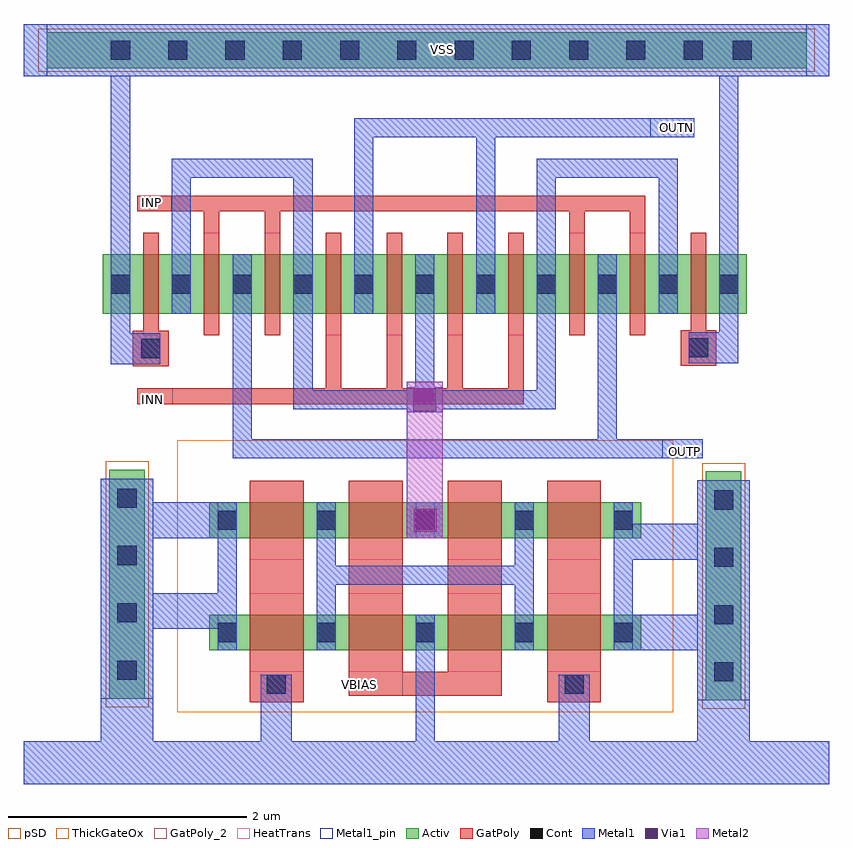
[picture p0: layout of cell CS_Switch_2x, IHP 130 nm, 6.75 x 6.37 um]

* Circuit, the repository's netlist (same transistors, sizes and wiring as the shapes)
** sch_path: /home/designer/shared/CS_DAC/CS_DAC-/xschem/CS_Switch_2x.sch
.subckt CS_Switch_2x INN INP OUTN OUTP VBIAS VSS
*.PININFO VSS:B VBIAS:I OUTP:B OUTN:B INP:I INN:I
MM7 net1 VBIAS net2 VSS sg13_hv_nmos w=0.6u l=0.45u ng=1 m=1
MM5 net2 VBIAS VSS VSS sg13_hv_nmos w=0.6u l=0.45u ng=1 m=1
MM1 OUTP INP net1 VSS sg13_lv_nmos w=2u l=0.13u ng=1 m=1
MM2 OUTN INN net1 VSS sg13_lv_nmos w=2u l=0.13u ng=1 m=1
MM3 VSS VSS net1 VSS sg13_lv_nmos w=0.5u l=0.13u ng=1 m=1
MM6 VSS VSS net2 VSS sg13_hv_nmos w=0.3u l=0.45u ng=1 m=1
MM8 VSS VSS net2 VSS sg13_hv_nmos w=0.3u l=0.45u ng=1 m=1
MM9 net2 VSS VSS VSS sg13_hv_nmos w=0.3u l=0.45u ng=1 m=1
MM10 net2 VSS VSS VSS sg13_hv_nmos w=0.3u l=0.45u ng=1 m=1
MM4 VSS VSS net1 VSS sg13_lv_nmos w=0.5u l=0.13u ng=1 m=1
.ends

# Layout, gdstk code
import gdstk
lib = gdstk.Library(unit=1e-6, precision=1e-09)
def R(c, l, rs):  # rectangles x0, y0, x1, y1
    for r in rs: c.add(gdstk.rectangle(r[:2], r[2:], *l))
def A(c, l, x, y, w, h, nx, ny, dx, dy):  # array of equal rectangles
    R(c, l, [(x+i*dx, y+j*dy, x+i*dx+w, y+j*dy+h) for i in range(nx) for j in range(ny)])
def P(c, l, *ps):  # polygons
    for p in ps: c.add(gdstk.Polygon(p, *l))
Activ = (1, 0)
GatPoly = (5, 0)
GatPoly_2 = (5, 2)
Cont = (6, 0)
Metal1 = (8, 0)
Metal1_pin = (8, 2)
Metal2 = (10, 0)
pSD = (14, 0)
Via1 = (19, 0)
ThickGateOx = (44, 0)
HeatTrans = (51, 0)

nmoshv_1 = lib.new_cell('nmosHV$1')
A(nmoshv_1, Activ, 0, 0, 0.3, 0.3, 3, 1, 0.83, 0)
R(nmoshv_1, Activ, [(0,0,1.96,0.3)])
R(nmoshv_1, GatPoly, [(0.34,-0.18,0.79,0.48), (1.17,-0.18,1.62,0.48)])
R(nmoshv_1, GatPoly_2, [(0.34,-0.18,0.79,0.48)])
A(nmoshv_1, Cont, 0.07, 0.07, 0.16, 0.16, 3, 1, 0.83, 0)
A(nmoshv_1, Metal1, 0.07, 0, 0.16, 0.3, 3, 1, 0.83, 0)
R(nmoshv_1, Metal1_pin, [(0.07,0,0.23,0.3), (0.9,0,1.06,0.3)])
R(nmoshv_1, ThickGateOx, [(-0.27,-0.52,2.23,0.82)])
R(nmoshv_1, HeatTrans, [(0.34,-0.18,0.79,0.48), (1.17,-0.18,1.62,0.48)])
nmoshv_1.add(gdstk.Label('nmosHV', (0.565,0.15), layer=63, texttype=0))
nmoshv_1.add(gdstk.Label('nmosHV', (0.565,0.15), layer=51, texttype=0))
nmoshv_1.add(gdstk.Label('nmosHV', (1.395,0.15), layer=51, texttype=0))

via_stack = lib.new_cell('via_stack')
R(via_stack, Metal1, [(-0.145,-0.105,0.145,0.105)])
R(via_stack, Metal2, [(-0.145,-0.1,0.145,0.1)])
R(via_stack, Via1, [(-0.095,-0.095,0.095,0.095)])

nmos = lib.new_cell('nmos')
A(nmos, Activ, 0, 0, 0.3, 0.3, 3, 1, 0.51, 0)
R(nmos, Activ, [(0,0,1.32,0.5)])
R(nmos, GatPoly, [(0.34,-0.18,0.47,0.68), (0.85,-0.18,0.98,0.68)])
R(nmos, GatPoly_2, [(0.34,-0.18,0.47,0.68)])
A(nmos, Cont, 0.07, 0.17, 0.16, 0.16, 3, 1, 0.51, 0)
A(nmos, Metal1, 0.07, 0, 0.16, 0.5, 3, 1, 0.51, 0)
R(nmos, Metal1_pin, [(0.07,0,0.23,0.5), (0.58,0,0.74,0.5)])
R(nmos, HeatTrans, [(0.34,-0.18,0.47,0.68), (0.85,-0.18,0.98,0.68)])
nmos.add(gdstk.Label('nmos', (0.405,0.25), layer=63, texttype=0))
nmos.add(gdstk.Label('nmos', (0.405,0.25), layer=51, texttype=0))
nmos.add(gdstk.Label('nmos', (0.915,0.25), layer=51, texttype=0))

nmoshv = lib.new_cell('nmosHV')
R(nmoshv, Activ, [(0,0,0.3,0.3), (0,0,1.13,0.3), (0.83,0,1.13,0.3)])
R(nmoshv, GatPoly, [(0.34,-0.18,0.79,0.48)])
R(nmoshv, GatPoly_2, [(0.34,-0.18,0.79,0.48)])
R(nmoshv, Cont, [(0.07,0.07,0.23,0.23), (0.9,0.07,1.06,0.23)])
R(nmoshv, Metal1, [(0.07,0,0.23,0.3), (0.9,0,1.06,0.3)])
R(nmoshv, Metal1_pin, [(0.07,0,0.23,0.3), (0.9,0,1.06,0.3)])
R(nmoshv, ThickGateOx, [(-0.27,-0.52,1.4,0.82)])
R(nmoshv, HeatTrans, [(0.34,-0.18,0.79,0.48)])
nmoshv.add(gdstk.Label('nmosHV', (0.565,0.15), layer=63, texttype=0))
nmoshv.add(gdstk.Label('nmosHV', (0.565,0.15), layer=51, texttype=0))

nmos_1 = lib.new_cell('nmos$1')
R(nmos_1, Activ, [(0,0,0.3,0.3), (0,0,0.81,0.5), (0.51,0,0.81,0.3)])
R(nmos_1, GatPoly, [(0.34,-0.18,0.47,0.68)])
R(nmos_1, GatPoly_2, [(0.34,-0.18,0.47,0.68)])
R(nmos_1, Cont, [(0.07,0.17,0.23,0.33), (0.58,0.17,0.74,0.33)])
R(nmos_1, Metal1, [(0.07,0,0.23,0.5), (0.58,0,0.74,0.5)])
R(nmos_1, Metal1_pin, [(0.07,0,0.23,0.5), (0.58,0,0.74,0.5)])
R(nmos_1, HeatTrans, [(0.34,-0.18,0.47,0.68)])
nmos_1.add(gdstk.Label('nmos', (0.405,0.25), layer=63, texttype=0))
nmos_1.add(gdstk.Label('nmos', (0.405,0.25), layer=51, texttype=0))

cs_switch_2x = lib.new_cell('CS_Switch_2x')
R(cs_switch_2x, Activ, [(2.34,-2.485,2.64,-0.565), (-2.66,-2.47,-2.36,-0.55), (-3.185,2.815,3.185,3.115)])
A(cs_switch_2x, GatPoly, -0.845, 0.13, 0.13, 0.445, 4, 1, 0.51, 0)
R(cs_switch_2x, GatPoly, [(-1.48,-2.5,-1.03,-0.645), (1.01,-2.5,1.46,-0.645), (-0.65,-2.445,0.63,-2.245), (-0.65,-1.585,-0.2,-1.305), (0.18,-1.585,0.63,-1.305), (-2.425,0,0.815,0.13), (-2.46,0.315,-2.16,0.615), (2.13,0.32,2.43,0.62), (-1.865,1.435,-1.735,1.745), (-1.355,1.435,-1.225,1.745), (1.195,1.435,1.325,1.745), (1.705,1.435,1.835,1.745), (-2.425,1.615,1.195,1.745), (1.195,1.615,1.835,1.745)])
R(cs_switch_2x, GatPoly_2, [(-0.65,-2.445,-0.2,-2.245), (-2.425,0,-2.125,0.13), (-2.425,1.615,-2.135,1.745)])
R(cs_switch_2x, Cont, [(-1.34,-2.43,-1.18,-2.27), (1.16,-2.43,1.32,-2.27), (2.41,-2.325,2.57,-2.165), (2.41,-2.325,2.57,-2.165), (-2.59,-2.31,-2.43,-2.15), (-2.59,-2.31,-2.43,-2.15), (2.41,-1.845,2.57,-1.685), (2.41,-1.845,2.57,-1.685), (-2.59,-1.83,-2.43,-1.67), (-2.59,-1.83,-2.43,-1.67), (2.41,-1.365,2.57,-1.205), (2.41,-1.365,2.57,-1.205), (-2.59,-1.35,-2.43,-1.19), (-2.59,-1.35,-2.43,-1.19), (2.41,-0.885,2.57,-0.725), (2.41,-0.885,2.57,-0.725), (-2.59,-0.87,-2.43,-0.71), (-2.59,-0.87,-2.43,-0.71), (-2.39,0.385,-2.23,0.545), (2.2,0.39,2.36,0.55), (-2.645,2.885,-2.485,3.045), (-2.645,2.885,-2.485,3.045), (-2.165,2.885,-2.005,3.045), (-2.165,2.885,-2.005,3.045), (-1.685,2.885,-1.525,3.045), (-1.685,2.885,-1.525,3.045), (-1.205,2.885,-1.045,3.045), (-1.205,2.885,-1.045,3.045), (-0.725,2.885,-0.565,3.045), (-0.725,2.885,-0.565,3.045), (-0.245,2.885,-0.085,3.045), (-0.245,2.885,-0.085,3.045), (0.235,2.885,0.395,3.045), (0.235,2.885,0.395,3.045), (0.715,2.885,0.875,3.045), (0.715,2.885,0.875,3.045), (1.195,2.885,1.355,3.045), (1.195,2.885,1.355,3.045), (1.675,2.885,1.835,3.045), (1.675,2.885,1.835,3.045), (2.155,2.885,2.315,3.045), (2.155,2.885,2.315,3.045), (2.565,2.885,2.725,3.045), (2.565,2.885,2.725,3.045)])
A(cs_switch_2x, Metal1, -1.115, 0.115, 0.16, 0.64, 3, 1, 1.02, 0)
R(cs_switch_2x, Metal1, [(-0.92,-2.065,-0.76,-1.125), (0.74,-2.065,0.9,-1.125), (1.57,-2.065,1.73,-1.005), (1.57,-2.065,2.47,-1.765), (1.57,-1.965,1.73,-1.005), (-2.49,-1.885,-1.59,-1.585), (-1.75,-1.885,-1.59,-0.825), (-0.92,-1.515,0.9,-1.355), (1.57,-1.305,2.47,-1.005), (-2.49,-1.125,-1.59,-0.825), (-0.165,-1.125,0.135,-0.825), (-1.625,-0.455,2.315,-0.295), (-1.625,-0.295,-1.465,0.755), (1.435,-0.295,1.595,0.755), (-1.115,-0.045,1.085,0.115), (-2.645,0.335,-2.23,0.595), (2.2,0.34,2.615,0.6), (-2.645,0.405,-2.485,0.755), (2.455,0.405,2.615,0.755), (-2.645,1.255,-2.485,3.185), (-2.135,1.255,-1.975,1.895), (-1.115,1.255,-0.955,1.895), (-0.605,1.255,-0.445,2.235), (0.415,1.255,0.575,2.235), (0.925,1.255,1.085,1.895), (1.945,1.255,2.105,1.895), (2.455,1.255,2.615,3.185), (-2.135,1.895,-0.955,2.055), (0.925,1.895,2.105,2.055), (-0.605,2.235,2.245,2.395), (-3.375,2.745,3.375,3.185)])
P(cs_switch_2x, Metal1, [(-3.375,-3.185),(-3.375,-2.825),(-2.73,-2.825),(-2.73,-0.625),(-2.29,-0.625),(-2.29,-2.825),(-1.39,-2.825),(-1.39,-2.27),(-1.13,-2.27),(-1.13,-2.825),(-0.09,-2.825),(-0.09,-1.765),(0.07,-1.765),(0.07,-2.825),(1.11,-2.825),(1.11,-2.27),(1.37,-2.27),(1.37,-2.825),(2.27,-2.825),(2.27,-0.64),(2.71,-0.64),(2.71,-2.825),(3.375,-2.825),(3.375,-3.185)])
R(cs_switch_2x, Metal1_pin, [(2.27,-2.485,2.71,-0.64), (-2.73,-2.47,-2.29,-0.625), (1.975,-0.455,2.315,-0.295), (1.875,2.235,2.245,2.395), (-3.185,2.745,3.185,3.185)])
R(cs_switch_2x, Metal2, [(-0.165,-1.125,0.135,0.185)])
R(cs_switch_2x, pSD, [(2.31,-2.555,2.67,-0.495), (-2.69,-2.54,-2.33,-0.48), (-3.255,2.785,3.255,3.145)])
R(cs_switch_2x, Via1, [(-0.105,-1.07,0.085,-0.88)])
cs_switch_2x.add(gdstk.Reference(nmoshv_1, (-0.99,-1.125)))
cs_switch_2x.add(gdstk.Reference(via_stack, (-0.015,0.035)))
cs_switch_2x.add(gdstk.Reference(nmoshv_1, (-0.99,-2.065)))
cs_switch_2x.add(gdstk.Reference(nmos, (-0.165,1.255), x_reflection=True))
cs_switch_2x.add(gdstk.Reference(nmos, (-1.185,1.255), x_reflection=True))
cs_switch_2x.add(gdstk.Reference(nmos, (0.855,1.255), x_reflection=True))
cs_switch_2x.add(gdstk.Reference(nmos, (-2.205,1.255), x_reflection=True))
cs_switch_2x.add(gdstk.Reference(nmoshv, (0.67,-2.065)))
cs_switch_2x.add(gdstk.Reference(nmoshv, (-1.82,-1.125)))
cs_switch_2x.add(gdstk.Reference(nmoshv, (-1.82,-2.065)))
cs_switch_2x.add(gdstk.Reference(nmoshv, (0.67,-1.125)))
cs_switch_2x.add(gdstk.Reference(nmos_1, (-2.715,0.755)))
cs_switch_2x.add(gdstk.Reference(nmos_1, (1.875,0.755)))
cs_switch_2x.add(gdstk.Label('INN', (-2.295,0.04), layer=5, texttype=1))
cs_switch_2x.add(gdstk.Label('VBIAS', (-0.565,-2.35), layer=5, texttype=1))
cs_switch_2x.add(gdstk.Label('INP', (-2.305,1.685), layer=5, texttype=1))
cs_switch_2x.add(gdstk.Label('VSS', (0.135,2.975), layer=8, texttype=25))
cs_switch_2x.add(gdstk.Label('OUTP', (2.165,-0.395), layer=8, texttype=25))
cs_switch_2x.add(gdstk.Label('OUTN', (2.095,2.315), layer=8, texttype=25))

lib.write_gds('CS_Switch_2x.gds')
